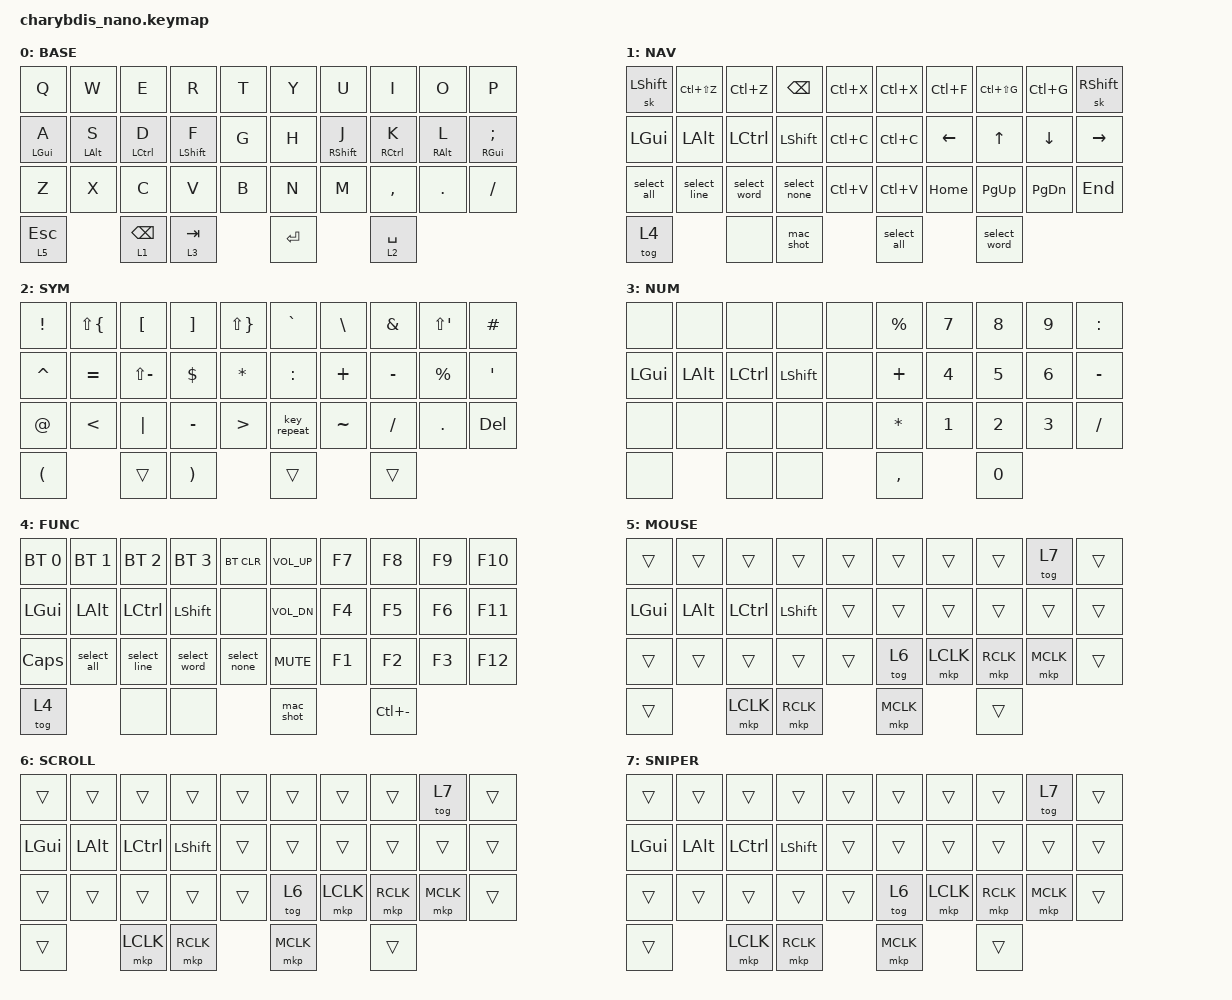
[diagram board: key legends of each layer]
/*
 * Copyright (c) 2024 The ZMK Contributors
 * SPDX-License-Identifier: MIT
 *
 * Charybdis Nano Keymap
 * Adapted from Corneish Zen layout for 35-key split with trackball.
 *
 * Physical Layout (35 keys):
 *
 *   LEFT HALF (18 keys)                         RIGHT HALF (17 keys)
 *   +-----+-----+-----+-----+-----+            +-----+-----+-----+-----+-----+
 *   |  Q  |  W  |  E  |  R  |  T  |  Row 1     |  Y  |  U  |  I  |  O  |  P  |
 *   +-----+-----+-----+-----+-----+            +-----+-----+-----+-----+-----+
 *   |A/GUI|S/ALT|D/CTL|F/SFT|  G  |  Row 2     |  H  |J/SFT|K/CTL|L/ALT|;/GUI|
 *   +-----+-----+-----+-----+-----+            +-----+-----+-----+-----+-----+
 *   |  Z  |  X  |  C  |  V  |  B  |  Row 3     |  N  |  M  |  ,  |  .  |  /  |
 *   +-----+-----+-----+-----+-----+            +-----+-----+-----+-----+-----+
 *   |ESC/5|     |BS/1 |TAB/3|     |  Thumb    | ENT |     |SPC/2|     |     |
 *   +-----+     +-----+-----+                  +-----+     +-----+   [BALL]
 *
 * Layers:
 *   0 - BASE:   QWERTY with homerow mods
 *   1 - NAV:    Navigation, arrows, selection macros
 *   2 - SYM:    Symbols and brackets
 *   3 - NUM:    Numpad and operators
 *   4 - FUNC:   F-keys, Bluetooth, media
 *   5 - MOUSE:  Hold ESC for mouse buttons + modifiers
 *   6 - SCROLL: Trackball scroll mode (toggle from MOUSE layer)
 *   7 - SNIPER: Slower trackball for precision (toggle from MOUSE layer)
 */

#include <behaviors.dtsi>
#include <dt-bindings/zmk/bt.h>
#include <dt-bindings/zmk/keys.h>
#include <dt-bindings/zmk/mouse.h>

/ {
    behaviors {
        /*
         * Homerow Mods - for pinky/ring/middle fingers
         * Tap-preferred with generous timing to avoid misfires during fast typing.
         * Triggers only when key is held AND a non-thumb key is pressed.
         */
        homerow: homerow {
            compatible = "zmk,behavior-hold-tap";
            label = "HOMEROW";
            bindings = <&kp>, <&kp>;
            #binding-cells = <2>;
            tapping-term-ms = <240>;
            flavor = "tap-preferred";
            quick-tap-ms = <200>;
            require-prior-idle-ms = <160>;
            hold-trigger-key-positions = <30 31 32 33 34>;  /* thumb keys */
            hold-trigger-on-release;
        };

        /*
         * Index Finger Mods - faster timing for F/J (shift)
         * Index fingers are more dexterous, so we can use quicker timing.
         */
        index: index {
            compatible = "zmk,behavior-hold-tap";
            label = "INDEX";
            bindings = <&kp>, <&kp>;
            #binding-cells = <2>;
            flavor = "tap-preferred";
            hold-trigger-on-release;
            hold-trigger-key-positions = <30 31 32 33 34>;  /* thumb keys */
            tapping-term-ms = <180>;
            require-prior-idle-ms = <100>;
            quick-tap-ms = <300>;
        };

        /*
         * Thumb Layer-Tap - hold for layer, tap for key
         * Balanced flavor for responsive layer access.
         */
        thumb: thumb {
            compatible = "zmk,behavior-hold-tap";
            label = "THUMB";
            bindings = <&mo>, <&kp>;
            #binding-cells = <2>;
            flavor = "balanced";
            quick-tap-ms = <300>;
            tapping-term-ms = <200>;
        };
    };

    macros {
        /*
         * Selection Macros - for quick text selection
         * These use Windows/Linux shortcuts (Ctrl-based).
         * For Mac, change LC() to LG() where appropriate.
         */
        select_line: select_line {
            compatible = "zmk,behavior-macro";
            #binding-cells = <0>;
            bindings = <&kp HOME &kp LS(END)>;
            label = "SELECT_LINE";
            wait-ms = <1>;
            tap-ms = <1>;
        };

        select_word: select_word {
            compatible = "zmk,behavior-macro";
            #binding-cells = <0>;
            bindings = <&kp LC(RIGHT) &kp LC(LEFT) &kp LC(LS(RIGHT))>;
            label = "SELECT_WORD";
            wait-ms = <1>;
            tap-ms = <1>;
        };

        select_none: select_none {
            compatible = "zmk,behavior-macro";
            #binding-cells = <0>;
            bindings = <&kp DOWN &kp UP &kp RIGHT &kp LEFT>;
            label = "SELECT_NONE";
        };

        select_all: select_all {
            compatible = "zmk,behavior-macro";
            #binding-cells = <0>;
            bindings = <&kp LC(A)>;
            label = "SELECT_ALL";
            wait-ms = <1>;
            tap-ms = <1>;
        };

        /* Mac screenshot: Cmd+Ctrl+Shift+4 */
        mac_shot: mac_shot {
            compatible = "zmk,behavior-macro";
            #binding-cells = <0>;
            bindings = <&kp LC(LS(LG(N4)))>;
            label = "MAC_SHOT";
        };
    };

    combos {
        compatible = "zmk,combos";

        combo_caps_word {
            timeout-ms = <50>;
            key-positions = <13 16>; /* F + J */
            layers = <0>;
            bindings = <&caps_word>;
        };

        combo_delete {
            timeout-ms = <50>;
            key-positions = <31 32>; /* BSPC + TAB (left middle + left inner thumbs) */
            layers = <0>;
            bindings = <&kp DEL>;
        };

        combo_mouse_toggle {
            timeout-ms = <40>;
            key-positions = <33 34>; /* ENTER + SPACE */
            layers = <0 5 6 7>;
            bindings = <&tog 5>;
        };
    };

    keymap {
        compatible = "zmk,keymap";

        /*
         * Layer 0: BASE - QWERTY with Homerow Mods
         *
         *   Q       W       E       R       T          Y       U       I       O       P
         * A/GUI   S/ALT   D/CTL   F/SFT     G          H     J/SFT   K/CTL   L/ALT   ;/GUI
         *   Z       X       C       V       B          N       M       ,       .       /
         *         ESC/5   BS/1    TAB/3               ENT    SPC/2
         */
        default_layer {
            label = "BASE";
            display-name = "BASE";
            bindings = <
                &kp Q            &kp W            &kp E             &kp R            &kp T              &kp Y      &kp U            &kp I             &kp O            &kp P
                &homerow LGUI A  &homerow LALT S  &homerow LCTRL D  &index LSHFT F   &kp G              &kp H      &index RSHFT J   &homerow RCTRL K  &homerow RALT L  &homerow RGUI SEMI
                &kp Z            &kp X            &kp C             &kp V            &kp B              &kp N      &kp M            &kp COMMA         &kp DOT          &kp FSLH
                &thumb 5 ESC                      &thumb 1 BSPC     &thumb 3 TAB                        &kp ENTER                   &thumb 2 SPACE
            >;
        };

        /*
         * Layer 1: NAV - Navigation and Selection
         * Access: Hold left middle thumb (BSPC)
         *
         * SHIFT   REDO    UNDO    BSPC    CUT        CUT    FIND   FIND<  FIND>  SHIFT
         *  GUI    ALT     CTL     SFT     COPY       COPY   LEFT    UP    DOWN   RIGHT
         * SELAL  SELLN   SELWD   SELNONE PASTE      PASTE  HOME   PGUP   PGDN    END
         *         FUNC    ---    SCREEN            SELALL  SELWD
         */
        nav_layer {
            label = "NAV";
            display-name = "NAV";
            bindings = <
                &sk LSHIFT   &kp LC(LS(Z))  &kp LC(Z)     &kp BSPC       &kp LC(X)      &kp LC(X)    &kp LC(F)     &kp LC(LS(G))  &kp LC(G)    &sk RSHIFT
                &kp LGUI     &kp LALT       &kp LCTRL     &kp LSHFT      &kp LC(C)      &kp LC(C)    &kp LEFT      &kp UP         &kp DOWN     &kp RIGHT
                &select_all  &select_line   &select_word  &select_none   &kp LC(V)      &kp LC(V)    &kp HOME      &kp PG_UP      &kp PG_DN    &kp END
                &tog 4                      &none         &mac_shot                     &select_all                &select_word
            >;
        };

        /*
         * Layer 2: SYM - Symbols (TS/Go/Shell + Vim)
         * Access: Hold right inner thumb (SPACE)
         *
         *   !       {       [       ]       }          `       \       &       "       #
         *   ^       =       _       $       *          :       +       -       %       '
         *   @       <       |       -       >        REPEAT   ~       /       .      DEL
         *    (     BSPC     )                         ENT    SPC
         */
        sym_layer {
            label = "SYM";
            display-name = "SYM";
            bindings = <
                &kp EXCL        &kp LS(LBRC)  &kp LBKT   &kp RBKT   &kp LS(RBRC)   &kp GRAVE  &kp BSLH   &kp AMPS       &kp LS(SQT)  &kp HASH
                &kp CARET       &kp EQUAL     &kp LS(MINUS) &kp DLLR  &kp STAR      &kp COLON  &kp PLUS   &kp MINUS      &kp PRCNT    &kp SQT
                &kp AT          &kp LT        &kp PIPE   &kp MINUS  &kp GT         &key_repeat &kp TILDE  &kp FSLH      &kp DOT      &kp DEL
                &kp LPAR        &trans        &kp RPAR                    &trans                &trans
            >;
        };

        /*
         * Layer 3: NUM - Number Pad
         * Access: Hold left inner thumb (TAB)
         *
         *   ---     ---     ---     ---     ---         %       7       8       9       :
         *   GUI     ALT     CTL     SFT     ---         +       4       5       6       -
         *   ---     ---     ---     ---     ---         *       1       2       3       /
         *           ---     ---     ---                 ,       0
         */
        num_layer {
            label = "NUM";
            display-name = "NUM";
            bindings = <
                &none      &none      &none      &none      &none          &kp PRCNT  &kp N7     &kp N8     &kp N9     &kp COLON
                &kp LGUI   &kp LALT   &kp LCTRL  &kp LSHFT  &none          &kp PLUS   &kp N4     &kp N5     &kp N6     &kp MINUS
                &none      &none      &none      &none      &none          &kp STAR   &kp N1     &kp N2     &kp N3     &kp FSLH
                &none                 &none      &none                     &kp COMMA             &kp N0
            >;
        };

        /*
         * Layer 4: FUNC - Function Keys, Bluetooth, Media
         * Access: Toggle from NAV (left thumb "FUNC")
         *
         *  BT0     BT1     BT2     BT3    BT_CLR       VOL+    F7      F8      F9      F10
         *  GUI     ALT     CTL     SFT     ---         VOL-    F4      F5      F6      F11
         * CAPS    SELAL   SELLN   SELWD   SELNONE      MUTE    F1      F2      F3      F12
         *  EXIT    ---     ---     ---               SCREEN  ZOOM-
         */
        func_layer {
            label = "FUNC";
            display-name = "FUNC";
            bindings = <
                &bt BT_SEL 0  &bt BT_SEL 1  &bt BT_SEL 2  &bt BT_SEL 3  &bt BT_CLR       &kp C_VOL_UP  &kp F7         &kp F8         &kp F9   &kp F10
                &kp LGUI      &kp LALT      &kp LCTRL     &kp LSHFT     &none            &kp C_VOL_DN  &kp F4         &kp F5         &kp F6   &kp F11
                &kp CAPS      &select_all   &select_line  &select_word  &select_none     &kp C_MUTE    &kp F1         &kp F2         &kp F3   &kp F12
                &tog 4                      &none         &none                          &mac_shot                    &kp LC(MINUS)
            >;
        };

        /*
         * Layer 5: MOUSE - Mouse buttons + modifiers
         * Access: Hold left outer thumb (ESC) or toggle (ENTER+SPACE)
         *
         *  ---     ---     ---     ---     ---         ---     ---     ---     SNP     ---
         *  GUI     ALT     CTL     SFT     ---         ---     ---     ---     ---     ---
         *  ---     ---     ---     ---     ---         SCRL   LCLK    RCLK    MCLK     ---
         *          ---    LCLK    RCLK               MCLK     ---
         */
        mouse_layer {
            label = "MOUSE";
            display-name = "MOUSE";
            bindings = <
                &trans     &trans     &trans     &trans     &trans         &trans     &trans     &trans     &tog 7     &trans
                &kp LGUI   &kp LALT   &kp LCTRL  &kp LSHFT  &trans         &trans     &trans     &trans     &trans     &trans
                &trans     &trans     &trans     &trans     &trans         &tog 6     &mkp LCLK  &mkp RCLK  &mkp MCLK  &trans
                &trans                &mkp LCLK  &mkp RCLK                 &mkp MCLK             &trans
            >;
        };

        /*
         * Layer 6: SCROLL - Trackball scroll mode
         * Access: Toggle from MOUSE layer (right hand "SCRL")
         *
         *  ---     ---     ---     ---     ---         ---     ---     ---     SNP     ---
         *  GUI     ALT     CTL     SFT     ---         ---     ---     ---     ---     ---
         *  ---     ---     ---     ---     ---         SCRL   LCLK    RCLK    MCLK     ---
         *          ---    LCLK    RCLK               MCLK     ---
         */
        scroll_layer {
            label = "SCROLL";
            display-name = "SCROLL";
            bindings = <
                &trans     &trans     &trans     &trans     &trans         &trans     &trans     &trans     &tog 7     &trans
                &kp LGUI   &kp LALT   &kp LCTRL  &kp LSHFT  &trans         &trans     &trans     &trans     &trans     &trans
                &trans     &trans     &trans     &trans     &trans         &tog 6     &mkp LCLK  &mkp RCLK  &mkp MCLK  &trans
                &trans                &mkp LCLK  &mkp RCLK                 &mkp MCLK             &trans
            >;
        };

        /*
         * Layer 7: SNIPER - Precision trackball mode (slower)
         * Access: Toggle from MOUSE layer (right hand "SNP")
         *
         *  ---     ---     ---     ---     ---         ---     ---     ---     SNP     ---
         *  GUI     ALT     CTL     SFT     ---         ---     ---     ---     ---     ---
         *  ---     ---     ---     ---     ---         SCRL   LCLK    RCLK    MCLK     ---
         *          ---    LCLK    RCLK               MCLK     ---
         */
        sniper_layer {
            label = "SNIPER";
            display-name = "SNIPER";
            bindings = <
                &trans     &trans     &trans     &trans     &trans         &trans     &trans     &trans     &tog 7     &trans
                &kp LGUI   &kp LALT   &kp LCTRL  &kp LSHFT  &trans         &trans     &trans     &trans     &trans     &trans
                &trans     &trans     &trans     &trans     &trans         &tog 6     &mkp LCLK  &mkp RCLK  &mkp MCLK  &trans
                &trans                &mkp LCLK  &mkp RCLK                 &mkp MCLK             &trans
            >;
        };
    };
};
